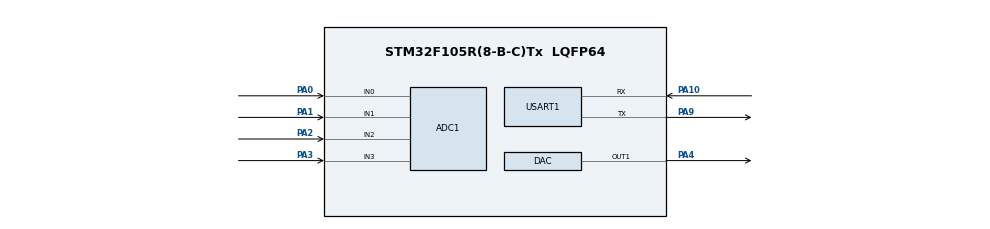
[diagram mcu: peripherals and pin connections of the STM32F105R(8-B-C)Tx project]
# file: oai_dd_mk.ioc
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ADC1.Channel-0\#ChannelRegularConversion=ADC_CHANNEL_0
ADC1.NbrOfConversionFlag=1
ADC1.Rank-0\#ChannelRegularConversion=1
ADC1.SamplingTime-0\#ChannelRegularConversion=ADC_SAMPLETIME_1CYCLE_5
ADC1.master=1
Mcu.Family=STM32F1
Mcu.Name=STM32F105R(8-B-C)Tx
Mcu.Package=LQFP64
NVIC.PriorityGroup=NVIC_PRIORITYGROUP_4
NVIC.USART1_IRQn=true\:0\:0\:false\:false\:true\:true
PA0-WKUP.Signal=ADCx_IN0
PA1.Signal=ADCx_IN1
PA10.Mode=Asynchronous
PA10.Signal=USART1_RX
PA13.Signal=SYS_JTMS-SWDIO
PA14.Signal=SYS_JTCK-SWCLK
PA2.Signal=ADCx_IN2
PA3.Signal=ADCx_IN3
PA4.Signal=COMP_DAC1_group
PA9.Mode=Asynchronous
PA9.Signal=USART1_TX
ProjectManager.HeapSize=0x200
ProjectManager.StackSize=0x400
ProjectManager.TargetToolchain=MDK-ARM V5
RCC.USBFreq_Value=10666666.666666666
SH.ADCx_IN0.0=ADC1_IN0,IN0
SH.ADCx_IN1.0=ADC1_IN1,IN1
SH.ADCx_IN2.0=ADC1_IN2,IN2
SH.ADCx_IN3.0=ADC1_IN3,IN3
SH.COMP_DAC1_group.0=DAC_OUT1,DAC_OUT1
USART1.VirtualMode=VM_ASYNC
VP_SYS_VS_ND.Mode=No_Debug
board=custom

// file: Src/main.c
/**
  ******************************************************************************
  * @file           : main.c
  * @brief          : Main program body
  ******************************************************************************
  ** This notice applies to any and all portions of this file
  * that are not between comment pairs USER CODE BEGIN and
  * USER CODE END. Other portions of this file, whether
  * inserted by the user or by software development tools
  * are owned by their respective copyright owners.
  *
  * COPYRIGHT(c) 2018 STMicroelectronics
  *
  * Redistribution and use in source and binary forms, with or without modification,
  * are permitted provided that the following conditions are met:
  *   1. Redistributions of source code must retain the above copyright notice,
  *      this list of conditions and the following disclaimer.
  *   2. Redistributions in binary form must reproduce the above copyright notice,
  *      this list of conditions and the following disclaimer in the documentation
  *      and/or other materials provided with the distribution.
  *   3. Neither the name of STMicroelectronics nor the names of its contributors
  *      may be used to endorse or promote products derived from this software
  *      without specific prior written permission.
  *
  * THIS SOFTWARE IS PROVIDED BY THE COPYRIGHT HOLDERS AND CONTRIBUTORS "AS IS"
  * AND ANY EXPRESS OR IMPLIED WARRANTIES, INCLUDING, BUT NOT LIMITED TO, THE
  * IMPLIED WARRANTIES OF MERCHANTABILITY AND FITNESS FOR A PARTICULAR PURPOSE ARE
  * DISCLAIMED. IN NO EVENT SHALL THE COPYRIGHT HOLDER OR CONTRIBUTORS BE LIABLE
  * FOR ANY DIRECT, INDIRECT, INCIDENTAL, SPECIAL, EXEMPLARY, OR CONSEQUENTIAL
  * DAMAGES (INCLUDING, BUT NOT LIMITED TO, PROCUREMENT OF SUBSTITUTE GOODS OR
  * SERVICES; LOSS OF USE, DATA, OR PROFITS; OR BUSINESS INTERRUPTION) HOWEVER
  * CAUSED AND ON ANY THEORY OF LIABILITY, WHETHER IN CONTRACT, STRICT LIABILITY,
  * OR TORT (INCLUDING NEGLIGENCE OR OTHERWISE) ARISING IN ANY WAY OUT OF THE USE
  * OF THIS SOFTWARE, EVEN IF ADVISED OF THE POSSIBILITY OF SUCH DAMAGE.
  *
  ******************************************************************************
  */
#include "main.h"
#include "stm32f1xx_hal.h"

/* USER CODE BEGIN Includes */
#include <cstring>
/* USER CODE END Includes */

ADC_HandleTypeDef hadc1;

DAC_HandleTypeDef hdac;

UART_HandleTypeDef huart1;

/* USER CODE BEGIN PV */
/* Private variables ---------------------------------------------------------*/
uint8_t t_buff[256]; // ������ �� ����� � �������� ������ �� UART
uint8_t r_buff[256];
/* USER CODE END PV */

void SystemClock_Config(void);
static void MX_GPIO_Init(void);
static void MX_ADC1_Init(void);
static void MX_DAC_Init(void);
static void MX_USART1_UART_Init(void);

/* USER CODE BEGIN PFP */
/* Private function prototypes -----------------------------------------------*/
int8_t UartGetData(uint8_t *buff);
/* USER CODE END PFP */

int main(void)
{
  /* USER CODE BEGIN 1 */
	uint8_t i = 0, leng = 0;
  /* USER CODE END 1 */

  /* MCU Configuration----------------------------------------------------------*/

  /* Reset of all peripherals, Initializes the Flash interface and the Systick. */
  HAL_Init();

  /* Configure the system clock */
  SystemClock_Config();

  /* Initialize all configured peripherals */
  MX_GPIO_Init();
  MX_ADC1_Init();
  MX_DAC_Init();
  MX_USART1_UART_Init();
  /* USER CODE BEGIN 2 */
  for (i = 0; i < 32; i++)
  {
    t_buff[i] = i + 1;
    r_buff[i] = 0;
  }

  /* USER CODE END 2 */

  /* Infinite loop */
  while (1)
  {

  /* USER CODE BEGIN 3 */
		HAL_Delay(100);
		leng = UartGetData(r_buff);
		if (leng != 0x01)
		{
			memcpy(t_buff, r_buff, leng);
			HAL_UART_Transmit_IT(&huart1, t_buff, leng);
		}
  }
  /* USER CODE END 3 */

}

void SystemClock_Config(void)
{

  RCC_OscInitTypeDef RCC_OscInitStruct;
  RCC_ClkInitTypeDef RCC_ClkInitStruct;
  RCC_PeriphCLKInitTypeDef PeriphClkInit;

    /**Initializes the CPU, AHB and APB busses clocks
    */
  RCC_OscInitStruct.OscillatorType = RCC_OSCILLATORTYPE_HSI;
  RCC_OscInitStruct.HSIState = RCC_HSI_ON;
  RCC_OscInitStruct.HSICalibrationValue = 16;
  RCC_OscInitStruct.PLL.PLLState = RCC_PLL_NONE;
  RCC_OscInitStruct.PLL2.PLL2State = RCC_PLL_NONE;
  if (HAL_RCC_OscConfig(&RCC_OscInitStruct) != HAL_OK)
  {
    _Error_Handler(__FILE__, __LINE__);
  }

    /**Initializes the CPU, AHB and APB busses clocks
    */
  RCC_ClkInitStruct.ClockType = RCC_CLOCKTYPE_HCLK|RCC_CLOCKTYPE_SYSCLK
                              |RCC_CLOCKTYPE_PCLK1|RCC_CLOCKTYPE_PCLK2;
  RCC_ClkInitStruct.SYSCLKSource = RCC_SYSCLKSOURCE_HSI;
  RCC_ClkInitStruct.AHBCLKDivider = RCC_SYSCLK_DIV1;
  RCC_ClkInitStruct.APB1CLKDivider = RCC_HCLK_DIV1;
  RCC_ClkInitStruct.APB2CLKDivider = RCC_HCLK_DIV1;

  if (HAL_RCC_ClockConfig(&RCC_ClkInitStruct, FLASH_LATENCY_0) != HAL_OK)
  {
    _Error_Handler(__FILE__, __LINE__);
  }

  PeriphClkInit.PeriphClockSelection = RCC_PERIPHCLK_ADC;
  PeriphClkInit.AdcClockSelection = RCC_ADCPCLK2_DIV2;
  if (HAL_RCCEx_PeriphCLKConfig(&PeriphClkInit) != HAL_OK)
  {
    _Error_Handler(__FILE__, __LINE__);
  }

    /**Configure the Systick interrupt time
    */
  HAL_SYSTICK_Config(HAL_RCC_GetHCLKFreq()/1000);

    /**Configure the Systick
    */
  HAL_SYSTICK_CLKSourceConfig(SYSTICK_CLKSOURCE_HCLK);

    /**Configure the Systick interrupt time
    */
  __HAL_RCC_PLLI2S_ENABLE();

  /* SysTick_IRQn interrupt configuration */
  HAL_NVIC_SetPriority(SysTick_IRQn, 0, 0);
}

/* ADC1 init function */
static void MX_ADC1_Init(void)
{

  ADC_ChannelConfTypeDef sConfig;

    /**Common config
    */
  hadc1.Instance = ADC1;
  hadc1.Init.ScanConvMode = ADC_SCAN_DISABLE;
  hadc1.Init.ContinuousConvMode = DISABLE;
  hadc1.Init.DiscontinuousConvMode = DISABLE;
  hadc1.Init.ExternalTrigConv = ADC_SOFTWARE_START;
  hadc1.Init.DataAlign = ADC_DATAALIGN_RIGHT;
  hadc1.Init.NbrOfConversion = 1;
  if (HAL_ADC_Init(&hadc1) != HAL_OK)
  {
    _Error_Handler(__FILE__, __LINE__);
  }

    /**Configure Regular Channel
    */
  sConfig.Channel = ADC_CHANNEL_0;
  sConfig.Rank = ADC_REGULAR_RANK_1;
  sConfig.SamplingTime = ADC_SAMPLETIME_1CYCLE_5;
  if (HAL_ADC_ConfigChannel(&hadc1, &sConfig) != HAL_OK)
  {
    _Error_Handler(__FILE__, __LINE__);
  }

}

/* DAC init function */
static void MX_DAC_Init(void)
{

  DAC_ChannelConfTypeDef sConfig;

    /**DAC Initialization
    */
  hdac.Instance = DAC;
  if (HAL_DAC_Init(&hdac) != HAL_OK)
  {
    _Error_Handler(__FILE__, __LINE__);
  }

    /**DAC channel OUT1 config
    */
  sConfig.DAC_Trigger = DAC_TRIGGER_NONE;
  sConfig.DAC_OutputBuffer = DAC_OUTPUTBUFFER_ENABLE;
  if (HAL_DAC_ConfigChannel(&hdac, &sConfig, DAC_CHANNEL_1) != HAL_OK)
  {
    _Error_Handler(__FILE__, __LINE__);
  }

}

/* USART1 init function */
static void MX_USART1_UART_Init(void)
{

  huart1.Instance = USART1;
  huart1.Init.BaudRate = 115200;
  huart1.Init.WordLength = UART_WORDLENGTH_8B;
  huart1.Init.StopBits = UART_STOPBITS_1;
  huart1.Init.Parity = UART_PARITY_NONE;
  huart1.Init.Mode = UART_MODE_TX_RX;
  huart1.Init.HwFlowCtl = UART_HWCONTROL_NONE;
  huart1.Init.OverSampling = UART_OVERSAMPLING_16;
  if (HAL_UART_Init(&huart1) != HAL_OK)
  {
    _Error_Handler(__FILE__, __LINE__);
  }

}

/** Configure pins as
        * Analog
        * Input
        * Output
        * EVENT_OUT
        * EXTI
*/
static void MX_GPIO_Init(void)
{

  /* GPIO Ports Clock Enable */
  __HAL_RCC_GPIOA_CLK_ENABLE();

}

/* USER CODE BEGIN 4 */
int8_t UartGetData(uint8_t *buff)
{
	uint16_t leng = 0;
	HAL_UART_Receive_IT(&huart1, buff, 128);
	leng = huart1.RxXferSize - huart1.RxXferCount;
	huart1.RxXferCount = 0;
	huart1.RxXferSize = 0;
	return leng;
}

/* USER CODE END 4 */

void _Error_Handler(char *file, int line)
{
  while(1)
  {
  }
}

/************************ (C) COPYRIGHT STMicroelectronics *****END OF FILE****/
